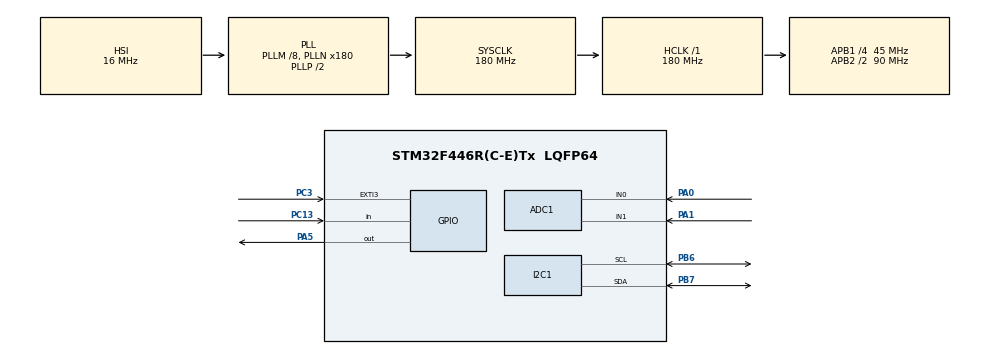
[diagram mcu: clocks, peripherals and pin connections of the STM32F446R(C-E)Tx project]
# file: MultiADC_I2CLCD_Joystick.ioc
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ADC1.Channel-0\#ChannelRegularConversion=ADC_CHANNEL_0
ADC1.Channel-1\#ChannelRegularConversion=ADC_CHANNEL_1
ADC1.DMAContinuousRequests=ENABLE
ADC1.EOCSelection=ADC_EOC_SEQ_CONV
ADC1.ExternalTrigConv=ADC_EXTERNALTRIGCONV_T2_TRGO
ADC1.NbrOfConversion=2
ADC1.NbrOfConversionFlag=1
ADC1.Rank-0\#ChannelRegularConversion=1
ADC1.Rank-1\#ChannelRegularConversion=2
ADC1.SamplingTime-0\#ChannelRegularConversion=ADC_SAMPLETIME_15CYCLES
ADC1.SamplingTime-1\#ChannelRegularConversion=ADC_SAMPLETIME_15CYCLES
ADC1.ScanConvMode=ENABLE
ADC1.master=1
Dma.ADC1.0.Direction=DMA_PERIPH_TO_MEMORY
Dma.ADC1.0.FIFOMode=DMA_FIFOMODE_DISABLE
Dma.ADC1.0.Instance=DMA2_Stream0
Dma.ADC1.0.MemDataAlignment=DMA_MDATAALIGN_WORD
Dma.ADC1.0.MemInc=DMA_MINC_ENABLE
Dma.ADC1.0.Mode=DMA_CIRCULAR
Dma.ADC1.0.PeriphDataAlignment=DMA_PDATAALIGN_WORD
Dma.ADC1.0.PeriphInc=DMA_PINC_DISABLE
Dma.ADC1.0.Priority=DMA_PRIORITY_LOW
Dma.Request0=ADC1
Mcu.Family=STM32F4
Mcu.Name=STM32F446R(C-E)Tx
Mcu.Package=LQFP64
NVIC.ADC_IRQn=true\:0\:0\:false\:false\:true\:true\:true
NVIC.DMA2_Stream0_IRQn=true\:0\:0\:false\:false\:true\:false\:true
NVIC.EXTI3_IRQn=true\:0\:0\:false\:false\:true\:true\:true
NVIC.PriorityGroup=NVIC_PRIORITYGROUP_4
NVIC.TIM2_IRQn=true\:0\:0\:false\:false\:true\:true\:true
NVIC.TIM6_DAC_IRQn=true\:0\:0\:false\:false\:true\:true\:true
PA0-WKUP.Signal=ADCx_IN0
PA1.Signal=ADCx_IN1
PA13.Mode=Serial_Wire
PA13.Signal=SYS_JTMS-SWDIO
PA14.Mode=Serial_Wire
PA14.Signal=SYS_JTCK-SWCLK
PA5.Signal=GPIO_Output
PB6.Mode=I2C
PB6.Signal=I2C1_SCL
PB7.Mode=I2C
PB7.Signal=I2C1_SDA
PC13.Signal=GPIO_Input
PC3.GPIO_ModeDefaultEXTI=GPIO_MODE_IT_FALLING
PC3.GPIO_PuPd=GPIO_PULLUP
PC3.Signal=GPXTI3
ProjectManager.HeapSize=0x200
ProjectManager.StackSize=0x400
ProjectManager.TargetToolchain=MDK-ARM V5.32
RCC.AHBFreq_Value=180000000
RCC.APB1CLKDivider=RCC_HCLK_DIV4
RCC.APB1Freq_Value=45000000
RCC.APB1TimFreq_Value=90000000
RCC.APB2CLKDivider=RCC_HCLK_DIV2
RCC.APB2Freq_Value=90000000
RCC.APB2TimFreq_Value=180000000
RCC.CortexFreq_Value=180000000
RCC.HCLKFreq_Value=180000000
RCC.PLLM=8
RCC.PLLN=180
RCC.SYSCLKFreq_VALUE=180000000
RCC.SYSCLKSource=RCC_SYSCLKSOURCE_PLLCLK
RCC.USBFreq_Value=180000000
RCC.VCOOutputFreq_Value=360000000
SH.ADCx_IN0.0=ADC1_IN0,IN0
SH.ADCx_IN1.0=ADC1_IN1,IN1
TIM2.Period=100
TIM2.Prescaler=17999
TIM2.TIM_MasterOutputTrigger=TIM_TRGO_UPDATE
TIM6.Period=50
TIM6.Prescaler=9000
VP_TIM2_VS_ClockSourceINT.Mode=Internal
VP_TIM6_VS_ClockSourceINT.Mode=Enable_Timer
board=custom

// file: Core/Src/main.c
/* USER CODE BEGIN Header */
/**
  ******************************************************************************
  * @file           : main.c
  * @brief          : Main program body
  ******************************************************************************
  * @attention
  *
  * <h2><center>&copy; Copyright (c) 2021 STMicroelectronics.
  * All rights reserved.</center></h2>
  *
  * This software component is licensed by ST under BSD 3-Clause license,
  * the "License"; You may not use this file except in compliance with the
  * License. You may obtain a copy of the License at:
  *                        opensource.org/licenses/BSD-3-Clause
  *
  ******************************************************************************
  */
/* USER CODE END Header */
#include "main.h"

/* USER CODE BEGIN Includes */
#include "i2c-lcd.h"
/* USER CODE END Includes */

ADC_HandleTypeDef hadc1;
DMA_HandleTypeDef hdma_adc1;

I2C_HandleTypeDef hi2c1;

TIM_HandleTypeDef htim2;
TIM_HandleTypeDef htim6;

void SystemClock_Config(void);
static void MX_GPIO_Init(void);
static void MX_DMA_Init(void);
static void MX_ADC1_Init(void);
static void MX_I2C1_Init(void);
static void MX_TIM6_Init(void);
static void MX_TIM2_Init(void);

/* USER CODE BEGIN 0 */
uint32_t adcJoystickVal[2];
uint8_t jysBtnStatus = 0;
uint8_t is_Numeric = 0;
uint8_t rowPos = 0;
uint8_t colPos = 0;
uint16_t xCount = 0;
uint16_t yCount = 0;
uint16_t delay = 300;

/* USER CODE END 0 */

int main(void)
{

  /* MCU Configuration--------------------------------------------------------*/

  /* Reset of all peripherals, Initializes the Flash interface and the Systick. */
  HAL_Init();

  /* Configure the system clock */
  SystemClock_Config();

  /* Initialize all configured peripherals */
  MX_GPIO_Init();
  MX_DMA_Init();
  MX_ADC1_Init();
  MX_I2C1_Init();
  MX_TIM6_Init();
  MX_TIM2_Init();

  /* USER CODE BEGIN 2 */
	HAL_TIM_Base_Start(&htim2);

	//Start DMA
	HAL_ADC_Start_DMA(&hadc1,adcJoystickVal, 2);
	lcd_init();

  lcd_put_cur(0,0);
  lcd_send_string("JOYSTICK");

  lcd_put_cur(1,0);
  lcd_send_string("CONTROLLED ");

  lcd_put_cur(2,0);
  lcd_send_string("LCD");

  lcd_put_cur(3,0);
    lcd_send_string("JamesD.");
	HAL_Delay(1000);
	lcd_clear();

  /* USER CODE END 2 */

  /* Infinite loop */
  /* USER CODE BEGIN WHILE */
  while (1)
  {
		lcd_put_cur(rowPos,colPos);
		if(jysBtnStatus) //Character selection
		{
			if(is_Numeric)
			{
				lcd_send_data(48 + yCount);
				xCount = 0;
			}
			else
			{
				lcd_send_data(65 + xCount);
				yCount = 0;
			}

			// X-AXIS NON-NUMERIC SELECTION
			if(adcJoystickVal[0] > 3300) //x-axis
			{
				is_Numeric = 0;
				HAL_GPIO_WritePin(GPIOA, GPIO_PIN_5, 1);
				xCount++;
				if(xCount > 57)
					xCount = 0;
				HAL_Delay(delay);
			}
			else if(adcJoystickVal[0]<100){ //x-axis
				is_Numeric = 0;
				HAL_GPIO_WritePin(GPIOA, GPIO_PIN_5, 1);
				if(xCount == 0)
					xCount = 57;
				else
					xCount--;

				HAL_Delay(delay);
			}
			else{
				HAL_GPIO_WritePin(GPIOA, GPIO_PIN_5, 0);
			}

			// Y-AXIS NUMERIC SELECTION
			if(adcJoystickVal[1] > 3050) //y-axis
			{
				is_Numeric = 1;
				HAL_GPIO_WritePin(GPIOA, GPIO_PIN_5, 1);
				yCount++;
				if(yCount > 9)
					yCount = 0;
				HAL_Delay(delay);
			}
			else if(adcJoystickVal[1]<100){ //x-axis
				is_Numeric = 1;
				HAL_GPIO_WritePin(GPIOA, GPIO_PIN_5, 1);
				if(yCount == 0)
					yCount = 9;
				else
					yCount--;
				HAL_Delay(delay);
			}
			else{
				HAL_GPIO_WritePin(GPIOA, GPIO_PIN_5, 0);
			}

		}
		else
		{
			//Reset values
			xCount = 0;
			yCount = 0;

			//if(adcJoystickVal[0] > 3300 || adcJoystickVal[0]<100) //x-axis
			// X-AXIS COLUMN NAVIG
			if(adcJoystickVal[0] > 3300) //x-axis
			{
				HAL_GPIO_WritePin(GPIOA, GPIO_PIN_5, 1);
				colPos++;
				if(colPos > 19)
					colPos = 0;
				HAL_Delay(delay);
			}
			else if(adcJoystickVal[0]<100){ //x-axis
				HAL_GPIO_WritePin(GPIOA, GPIO_PIN_5, 1);
				if(colPos == 0)
					colPos = 19;
				else
					colPos--;
				HAL_Delay(delay);
			}
			else{
				HAL_GPIO_WritePin(GPIOA, GPIO_PIN_5, 0);
			}

			// Y-AXIS ROW NAVIG
			if(adcJoystickVal[1] > 3050) //y-axis
			{
				HAL_GPIO_WritePin(GPIOA, GPIO_PIN_5, 1);
				rowPos++;
				if(rowPos > 3)
					rowPos = 0;
				HAL_Delay(delay);

			}
			else if(adcJoystickVal[1]<100){ //y-axis
				HAL_GPIO_WritePin(GPIOA, GPIO_PIN_5, 1);
				if(rowPos == 0)
					rowPos = 3;
				else
					rowPos--;
				HAL_Delay(delay);
			}
			else
				HAL_GPIO_WritePin(GPIOA, GPIO_PIN_5, 0);
		}
//		lcd_put_cur(rowPos,colPos);
//		colPos++;
//		if(colPos > 19)
//		{
//			colPos = 0;
//			rowPos++;
//			if(rowPos > 3)
//				rowPos = 0;
//		}
		HAL_Delay(50);
    /* USER CODE END WHILE */

  }
}

void SystemClock_Config(void)
{
  RCC_OscInitTypeDef RCC_OscInitStruct = {0};
  RCC_ClkInitTypeDef RCC_ClkInitStruct = {0};

  /** Configure the main internal regulator output voltage
  */
  __HAL_RCC_PWR_CLK_ENABLE();
  __HAL_PWR_VOLTAGESCALING_CONFIG(PWR_REGULATOR_VOLTAGE_SCALE1);
  /** Initializes the RCC Oscillators according to the specified parameters
  * in the RCC_OscInitTypeDef structure.
  */
  RCC_OscInitStruct.OscillatorType = RCC_OSCILLATORTYPE_HSI;
  RCC_OscInitStruct.HSIState = RCC_HSI_ON;
  RCC_OscInitStruct.HSICalibrationValue = RCC_HSICALIBRATION_DEFAULT;
  RCC_OscInitStruct.PLL.PLLState = RCC_PLL_ON;
  RCC_OscInitStruct.PLL.PLLSource = RCC_PLLSOURCE_HSI;
  RCC_OscInitStruct.PLL.PLLM = 8;
  RCC_OscInitStruct.PLL.PLLN = 180;
  RCC_OscInitStruct.PLL.PLLP = RCC_PLLP_DIV2;
  RCC_OscInitStruct.PLL.PLLQ = 2;
  RCC_OscInitStruct.PLL.PLLR = 2;
  if (HAL_RCC_OscConfig(&RCC_OscInitStruct) != HAL_OK)
  {
    Error_Handler();
  }
  /** Activate the Over-Drive mode
  */
  if (HAL_PWREx_EnableOverDrive() != HAL_OK)
  {
    Error_Handler();
  }
  /** Initializes the CPU, AHB and APB buses clocks
  */
  RCC_ClkInitStruct.ClockType = RCC_CLOCKTYPE_HCLK|RCC_CLOCKTYPE_SYSCLK
                              |RCC_CLOCKTYPE_PCLK1|RCC_CLOCKTYPE_PCLK2;
  RCC_ClkInitStruct.SYSCLKSource = RCC_SYSCLKSOURCE_PLLCLK;
  RCC_ClkInitStruct.AHBCLKDivider = RCC_SYSCLK_DIV1;
  RCC_ClkInitStruct.APB1CLKDivider = RCC_HCLK_DIV4;
  RCC_ClkInitStruct.APB2CLKDivider = RCC_HCLK_DIV2;

  if (HAL_RCC_ClockConfig(&RCC_ClkInitStruct, FLASH_LATENCY_5) != HAL_OK)
  {
    Error_Handler();
  }
}

static void MX_ADC1_Init(void)
{

  ADC_ChannelConfTypeDef sConfig = {0};

  /** Configure the global features of the ADC (Clock, Resolution, Data Alignment and number of conversion)
  */
  hadc1.Instance = ADC1;
  hadc1.Init.ClockPrescaler = ADC_CLOCK_SYNC_PCLK_DIV4;
  hadc1.Init.Resolution = ADC_RESOLUTION_12B;
  hadc1.Init.ScanConvMode = ENABLE;
  hadc1.Init.ContinuousConvMode = DISABLE;
  hadc1.Init.DiscontinuousConvMode = DISABLE;
  hadc1.Init.ExternalTrigConvEdge = ADC_EXTERNALTRIGCONVEDGE_RISING;
  hadc1.Init.ExternalTrigConv = ADC_EXTERNALTRIGCONV_T2_TRGO;
  hadc1.Init.DataAlign = ADC_DATAALIGN_RIGHT;
  hadc1.Init.NbrOfConversion = 2;
  hadc1.Init.DMAContinuousRequests = ENABLE;
  hadc1.Init.EOCSelection = ADC_EOC_SEQ_CONV;
  if (HAL_ADC_Init(&hadc1) != HAL_OK)
  {
    Error_Handler();
  }
  /** Configure for the selected ADC regular channel its corresponding rank in the sequencer and its sample time.
  */
  sConfig.Channel = ADC_CHANNEL_0;
  sConfig.Rank = 1;
  sConfig.SamplingTime = ADC_SAMPLETIME_15CYCLES;
  if (HAL_ADC_ConfigChannel(&hadc1, &sConfig) != HAL_OK)
  {
    Error_Handler();
  }
  /** Configure for the selected ADC regular channel its corresponding rank in the sequencer and its sample time.
  */
  sConfig.Channel = ADC_CHANNEL_1;
  sConfig.Rank = 2;
  if (HAL_ADC_ConfigChannel(&hadc1, &sConfig) != HAL_OK)
  {
    Error_Handler();
  }

}

static void MX_I2C1_Init(void)
{

  hi2c1.Instance = I2C1;
  hi2c1.Init.ClockSpeed = 100000;
  hi2c1.Init.DutyCycle = I2C_DUTYCYCLE_2;
  hi2c1.Init.OwnAddress1 = 0;
  hi2c1.Init.AddressingMode = I2C_ADDRESSINGMODE_7BIT;
  hi2c1.Init.DualAddressMode = I2C_DUALADDRESS_DISABLE;
  hi2c1.Init.OwnAddress2 = 0;
  hi2c1.Init.GeneralCallMode = I2C_GENERALCALL_DISABLE;
  hi2c1.Init.NoStretchMode = I2C_NOSTRETCH_DISABLE;
  if (HAL_I2C_Init(&hi2c1) != HAL_OK)
  {
    Error_Handler();
  }

}

static void MX_TIM2_Init(void)
{

  TIM_ClockConfigTypeDef sClockSourceConfig = {0};
  TIM_MasterConfigTypeDef sMasterConfig = {0};

  htim2.Instance = TIM2;
  htim2.Init.Prescaler = 17999;
  htim2.Init.CounterMode = TIM_COUNTERMODE_UP;
  htim2.Init.Period = 100;
  htim2.Init.ClockDivision = TIM_CLOCKDIVISION_DIV1;
  htim2.Init.AutoReloadPreload = TIM_AUTORELOAD_PRELOAD_DISABLE;
  if (HAL_TIM_Base_Init(&htim2) != HAL_OK)
  {
    Error_Handler();
  }
  sClockSourceConfig.ClockSource = TIM_CLOCKSOURCE_INTERNAL;
  if (HAL_TIM_ConfigClockSource(&htim2, &sClockSourceConfig) != HAL_OK)
  {
    Error_Handler();
  }
  sMasterConfig.MasterOutputTrigger = TIM_TRGO_UPDATE;
  sMasterConfig.MasterSlaveMode = TIM_MASTERSLAVEMODE_DISABLE;
  if (HAL_TIMEx_MasterConfigSynchronization(&htim2, &sMasterConfig) != HAL_OK)
  {
    Error_Handler();
  }

}

static void MX_TIM6_Init(void)
{

  TIM_MasterConfigTypeDef sMasterConfig = {0};

  htim6.Instance = TIM6;
  htim6.Init.Prescaler = 9000;
  htim6.Init.CounterMode = TIM_COUNTERMODE_UP;
  htim6.Init.Period = 50;
  htim6.Init.AutoReloadPreload = TIM_AUTORELOAD_PRELOAD_DISABLE;
  if (HAL_TIM_Base_Init(&htim6) != HAL_OK)
  {
    Error_Handler();
  }
  sMasterConfig.MasterOutputTrigger = TIM_TRGO_RESET;
  sMasterConfig.MasterSlaveMode = TIM_MASTERSLAVEMODE_DISABLE;
  if (HAL_TIMEx_MasterConfigSynchronization(&htim6, &sMasterConfig) != HAL_OK)
  {
    Error_Handler();
  }

}

static void MX_DMA_Init(void)
{

  /* DMA controller clock enable */
  __HAL_RCC_DMA2_CLK_ENABLE();

  /* DMA interrupt init */
  /* DMA2_Stream0_IRQn interrupt configuration */
  HAL_NVIC_SetPriority(DMA2_Stream0_IRQn, 0, 0);
  HAL_NVIC_EnableIRQ(DMA2_Stream0_IRQn);

}

static void MX_GPIO_Init(void)
{
  GPIO_InitTypeDef GPIO_InitStruct = {0};

  /* GPIO Ports Clock Enable */
  __HAL_RCC_GPIOC_CLK_ENABLE();
  __HAL_RCC_GPIOA_CLK_ENABLE();
  __HAL_RCC_GPIOB_CLK_ENABLE();

  /*Configure GPIO pin Output Level */
  HAL_GPIO_WritePin(GPIOA, GPIO_PIN_5, GPIO_PIN_RESET);

  /*Configure GPIO pin : PC13 */
  GPIO_InitStruct.Pin = GPIO_PIN_13;
  GPIO_InitStruct.Mode = GPIO_MODE_INPUT;
  GPIO_InitStruct.Pull = GPIO_NOPULL;
  HAL_GPIO_Init(GPIOC, &GPIO_InitStruct);

  /*Configure GPIO pin : PC3 */
  GPIO_InitStruct.Pin = GPIO_PIN_3;
  GPIO_InitStruct.Mode = GPIO_MODE_IT_FALLING;
  GPIO_InitStruct.Pull = GPIO_PULLUP;
  HAL_GPIO_Init(GPIOC, &GPIO_InitStruct);

  /*Configure GPIO pin : PA5 */
  GPIO_InitStruct.Pin = GPIO_PIN_5;
  GPIO_InitStruct.Mode = GPIO_MODE_OUTPUT_PP;
  GPIO_InitStruct.Pull = GPIO_NOPULL;
  GPIO_InitStruct.Speed = GPIO_SPEED_FREQ_LOW;
  HAL_GPIO_Init(GPIOA, &GPIO_InitStruct);

  /* EXTI interrupt init*/
  HAL_NVIC_SetPriority(EXTI3_IRQn, 0, 0);
  HAL_NVIC_EnableIRQ(EXTI3_IRQn);

}

/* USER CODE BEGIN 4 */
void HAL_ADC_ConvCpltCallback(ADC_HandleTypeDef* hadc)
{
//  HAL_GPIO_TogglePin(GPIOA,GPIO_PIN_5);
}
void HAL_TIM_PeriodElapsedCallback(TIM_HandleTypeDef *htim)
{
  /* Prevent unused argument(s) compilation warning */
  if(htim == &htim6)
	{
		HAL_TIM_Base_Stop_IT(&htim6);
		if(!HAL_GPIO_ReadPin(GPIOC,GPIO_PIN_3))
		{
			HAL_GPIO_TogglePin(GPIOA,GPIO_PIN_5);
			jysBtnStatus ^= 1;
		}
	}
  /* NOTE : This function should not be modified, when the callback is needed,
            the HAL_TIM_PeriodElapsedCallback could be implemented in the user file
   */
}
//---------------------Test this one as external interrupt-------------
void HAL_GPIO_EXTI_Callback(uint16_t GPIO_Pin)
{
  HAL_TIM_Base_Start_IT(&htim6);

}
/* USER CODE END 4 */

void Error_Handler(void)
{
  __disable_irq();
  while (1)
  {
  }
}

/************************ (C) COPYRIGHT STMicroelectronics *****END OF FILE****/
